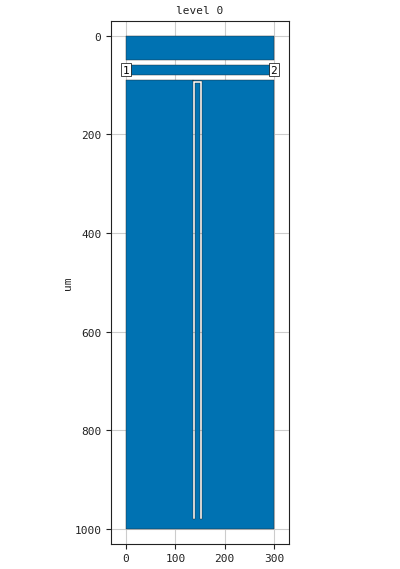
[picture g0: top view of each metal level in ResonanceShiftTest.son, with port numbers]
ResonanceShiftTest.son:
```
FTYP SONPROJ 15 ! Sonnet Project File
VER 16.52
HEADER
LIC calt2.2.43068 b6ae2bd1257f DESKTOP-SL82IK9 Michael
DAT 04/14/2016 19:40:26
BUILT_BY_CREATED xgeom 16.52 03/26/2016 21:21:12
BUILT_BY_SAVED xgeom 16.52
MDATE 04/14/2016 19:40:26
HDATE 04/14/2016 19:40:26
END HEADER
DIM
FREQ GHZ
IND NH
LNG UM
ANG DEG
CON /OH
CAP PF
RES OH
END DIM
FREQ
ABS 10.0 100.0 
END FREQ
CONTROL
VARSWP
OPTIONS  -d 
SPEED 0
CACHE_ABS 1
TARG_ABS 300
Q_ACC N
DET_ABS_RES Y
END CONTROL
GEO
TMET "Lossless" 0 SUP 0 0 0 0
BMET "Lossless" 0 SUP 0 0 0 0
BOX 1 300 1000 1200 2000 20 0
      1000 1 1 0 0 0 0 "Air"
      500 11.9 1 5e-006 0 0 0 "Silicon (intrinsic)"
VALVAR gap LNG 5 "Dim. Param."
VALVAR gap2 LNG "gap" "Dim. Param."
LORGN 0 1000 U 
POR1 STD
POLY 10 1
1
1 50 0 0 0 0 68.99999976 
POR1 STD
POLY 10 1
7
2 50 0 0 0 300 69.000002 
NUM 3
0 21 -1 N 9 1 1 100 100 0 0 0 Y
242 1000
300 1000
300 88.99999608
135 88.99999608
135 91.00000425
154.9999826 91.00000425
154.9999826 980
149.9999826 980
149.9999826 96
140 96
140 980
135 980
135 105
135 91.00000425
135 88.99999608
0 88.99999608
0 1000
48 1000
48 1000.000005
242 1000.000005
242 1000
END
0 9 -1 N 10 1 1 100 100 0 0 0 Y
300 59
0 59
0 78.99999951
48 78.99999951
48 78.99999951
242 78.99999951
242 79.000004
300 79.000004
300 59
END
0 9 -1 N 13 1 1 100 100 0 0 0 Y
300 0
242 0
242 -6.356748232e-007
48 -6.356748232e-007
48 0
0 0
0 48.99999155
300 48.99999155
300 0
END
END GEO
OPT
MAX 100
VARS
VAR gap N UNDEF UNDEF UNDEF
END
END OPT
VARSWP
ABS_ENTRY 32.0 34.0 
VAR gap Y 3.0 7.0 0.5
END
END VARSWP
QSG
IMPORT NO
EXTRA_METAL NO
UNITS YES
ALIGN NO
REF NO
VIEW_RES YES
METALS NO
USED NO
END QSG
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```
